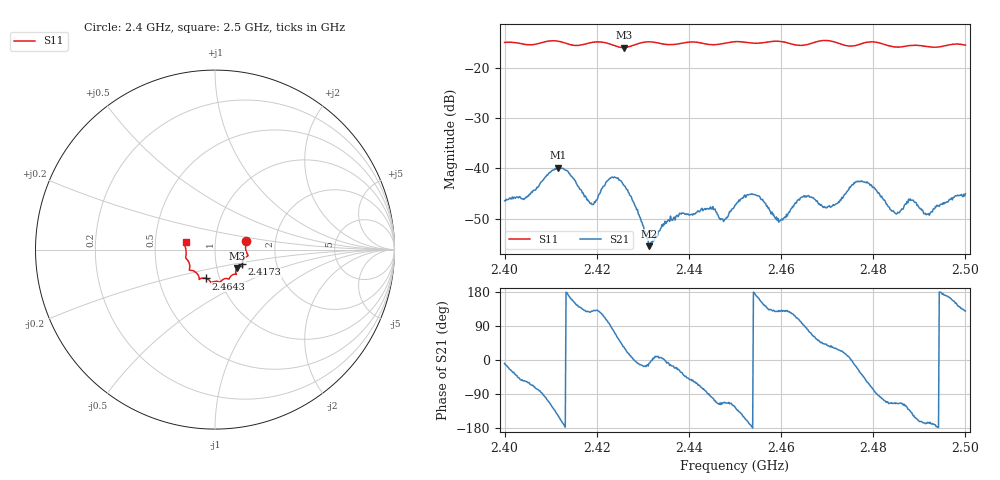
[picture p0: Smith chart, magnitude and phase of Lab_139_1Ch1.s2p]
# Hz S RI R 50
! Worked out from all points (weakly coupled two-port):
!   601 points, 2.4 GHz to 2.5 GHz, reference 50 ohm
!   highest |S21| = -39.84 dB at 2.4117 GHz (marker M1); lowest = -55.5 dB at 2.4313 GHz (marker M2)
!   lowest |S11| = -15.9 dB at 2.4258 GHz (marker M3), VSWR 1.38, Z = 62.3 - j13.2 ohm
!   |S11| at or under -10 dB: start of sweep to end of sweep
!   S12 and S22 are empty: the file has one direction only
!   S11 on the Smith chart (normalised r, x): 2.4 GHz: 1.41, +0.14; 2.4173 GHz: 1.34, -0.23; 2.4643 GHz: 0.86, -0.28; 2.5 GHz: 0.72, +0.06
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2.4e9  0.173 0.0495  0.00471 -0.000751  0 0  0 0
2.411667e9  0.1814 -0.0363  -0.00869 -0.00533  0 0  0 0
2.416667e9  0.1528 -0.0743  -0.00441 0.00419  0 0  0 0
2.417333e9  0.1521 -0.0819  -0.00342 0.00395  0 0  0 0
2.4195e9  0.1538 -0.0964  -0.00302 0.00355  0 0  0 0
2.423333e9  0.1428 -0.0934  0.00105 0.00813  0 0  0 0
2.425833e9  0.1219 -0.1035  0.00557 0.00394  0 0  0 0
2.431333e9  0.1191 -0.1386  0.00166 -0.000256  0 0  0 0
2.433333e9  0.113 -0.1369  0.00231 0.000387  0 0  0 0
2.438333e9  0.0818 -0.1561  0.00295 -0.0019  0 0  0 0
2.447333e9  0.0387 -0.1709  -0.00125 -0.00289  0 0  0 0
2.45e9  0.0296 -0.1809  -0.0024 -0.00356  0 0  0 0
2.454667e9  0.00465 -0.1765  -0.00528 0.00109  0 0  0 0
2.46e9  -0.0236 -0.1825  -0.00203 0.00233  0 0  0 0
2.464333e9  -0.05 -0.1606  -0.000943 0.00505  0 0  0 0
2.466667e9  -0.0759 -0.1598  0.00202 0.00478  0 0  0 0
2.471167e9  -0.0873 -0.1622  0.0035 0.00239  0 0  0 0
2.477667e9  -0.1328 -0.1158  0.00563 -0.00484  0 0  0 0
2.483333e9  -0.1408 -0.0899  -0.00174 -0.00377  0 0  0 0
2.488167e9  -0.1605 -0.0498  -0.00355 -0.00326  0 0  0 0
2.491833e9  -0.1611 -0.0269  -0.00338 -0.000951  0 0  0 0
2.5e9  -0.1638 0.0425  -0.00355 0.00432  0 0  0 0
